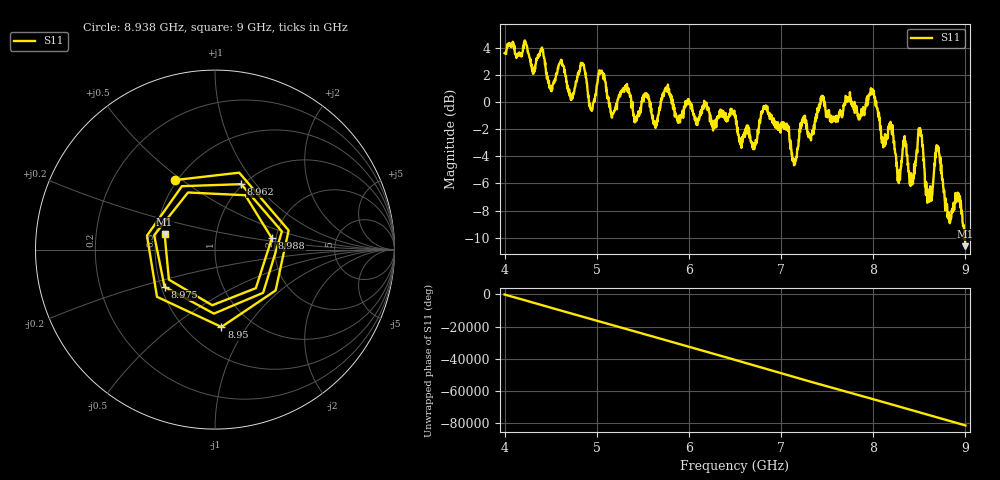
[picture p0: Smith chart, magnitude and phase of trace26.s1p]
! Created with skrf 1.8.0 (http://scikit-rf.org).
# Hz S RI R 50.0
!freq ReS11 ImS11
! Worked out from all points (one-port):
!   1601 points, 4 GHz to 9 GHz, reference 50 ohm
!   lowest |S11| = -10.6 dB at 9 GHz (marker M1), VSWR 1.83, Z = 27.7 + j5.32 ohm
!   |S11| at or under -10 dB: 8.990003 GHz to end of sweep
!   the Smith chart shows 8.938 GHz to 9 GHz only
!   S11 on the Smith chart (normalised r, x): 8.938 GHz: 0.49, +0.47; 8.95 GHz: 0.73, -0.77; 8.962 GHz: 0.98, +0.85; 8.975 GHz: 0.52, -0.25; 8.988 GHz: 1.90, +0.27; 9 GHz: 0.55, +0.11
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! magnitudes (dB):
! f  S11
! 4 GHz  3.6
! 4.625 GHz  2.8
! 4.731 GHz  0.5
! 4.847 GHz  2.8
! 4.941 GHz  -0.6
! 5.044 GHz  2.2
! 5.162 GHz  -1.2
! 5.25 GHz  0.6
! 5.875 GHz  -1.3
! 6.5 GHz  -0.9
! 6.709 GHz  -3.5
! 6.831 GHz  -0.3
! 7.125 GHz  -4.2
! 7.438 GHz  0.3
! 7.75 GHz  0.3
! 7.994 GHz  0.9
! 8.275 GHz  -5.7
! 8.375 GHz  -4.7
! 8.509 GHz  -1.9
! 8.606 GHz  -7.0
! 8.697 GHz  -3.3
! 8.819 GHz  -8.1
! 8.938 GHz  -7.0
! 8.95 GHz  -7.3
! 8.962 GHz  -8.1
! 8.975 GHz  -9.1
! 8.988 GHz  -9.8
! 9 GHz  -10.6
